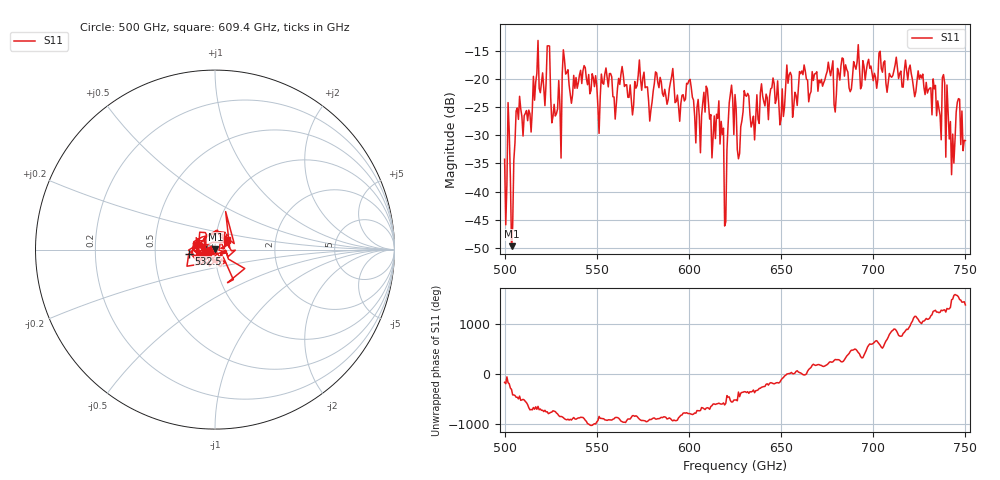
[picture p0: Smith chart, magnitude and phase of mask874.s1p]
!Created with skrf (http://scikit-rf.org).
# GHz S MA R 50.0
!freq magS11 angS11
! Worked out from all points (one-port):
!   401 points, 500 GHz to 750 GHz, reference 50 ohm
!   lowest |S11| = -49.7 dB at 503.8 GHz (marker M1), VSWR 1.01, Z = 50.2 + j0.259 ohm
!   |S11| at or under -10 dB: start of sweep to end of sweep
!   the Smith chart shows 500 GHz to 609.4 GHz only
!   S11 on the Smith chart (normalised r, x): 500 GHz: 0.96, -0.01; 532.5 GHz: 0.74, -0.04; 609.4 GHz: 1.13, +0.13
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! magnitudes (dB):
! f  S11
! 500 GHz  -34.3
! 503.8 GHz  -49.7
! 507.5 GHz  -27.2
! 513.8 GHz  -26.2
! 516.9 GHz  -20.6
! 523.8 GHz  -14.1
! 526.9 GHz  -24.5
! 531.2 GHz  -19.2
! 532.5 GHz  -16.6
! 550.6 GHz  -24.9
! 562.5 GHz  -21.0
! 593.8 GHz  -22.9
! 600 GHz  -20.3
! 605 GHz  -23.6
! 609.4 GHz  -21.3
! 617.5 GHz  -27.5
! 619.4 GHz  -46.1
! 622.5 GHz  -22.6
! 625 GHz  -22.8
! 627.5 GHz  -33.2
! 631.2 GHz  -23.1
! 635 GHz  -26.6
! 656.2 GHz  -26.8
! 687.5 GHz  -22.3
! 718.8 GHz  -20.2
! 742.5 GHz  -37.0
! 746.9 GHz  -23.6
! 750 GHz  -31.0
